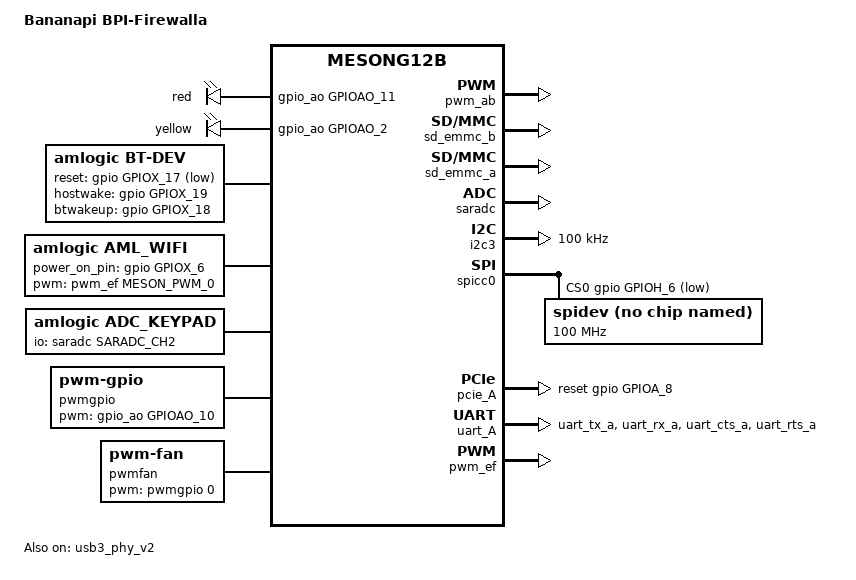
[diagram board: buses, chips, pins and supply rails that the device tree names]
/*
 * arch/arm64/boot/dts/amlogic/meson64_bananapi_firewalla.dts
 *
 * Copyright (C) 2018 Hardkernel Co,. Ltd. All rights reserved.
 *
 * This program is free software; you can redistribute it and/or modify
 * it under the terms of the GNU General Public License as published by
 * the Free Software Foundation; either version 2 of the License, or
 * (at your option) any later version.
 *
 * This program is distributed in the hope that it will be useful, but WITHOUT
 * ANY WARRANTY; without even the implied warranty of MERCHANTABILITY or
 * FITNESS FOR A PARTICULAR PURPOSE.  See the GNU General Public License for
 * more details.
 *
 */

/dts-v1/;

#include <include/dt-bindings/thermal/thermal.h>
#include "mesong12b_a.dtsi"
#include "mesong12_bananapi_common.dtsi"

/ {
	model = "Bananapi BPI-Firewalla";
	compatible = "amlogic, g12b";
	interrupt-parent = <&gic>;
	#address-cells = <2>;
	#size-cells = <2>;

	chosen { };

	reserved-memory {
		#address-cells = <2>;
		#size-cells = <2>;
		ranges;
		/* global autoconfigured region for contiguous allocations */
		secmon_reserved:linux,secmon {
			compatible = "shared-dma-pool";
			reusable;
			size = <0x0 0x400000>;
			alignment = <0x0 0x400000>;
			alloc-ranges = <0x0 0x05000000 0x0 0x400000>;
			clear-map;
		};

		secos_reserved:linux,secos {
			status = "disable";
			compatible = "amlogic, aml_secos_memory";
			reg = <0x0 0x05300000 0x0 0x2000000>;
			no-map;
		};
		logo_reserved:linux,meson-fb {
			compatible = "shared-dma-pool";
			reusable;
			size = <0x0 0x800000>;
			alignment = <0x0 0x400000>;
			alloc-ranges = <0x0 0x7f800000 0x0 0x800000>;
		};
		ion_cma_reserved:linux,ion-dev {
			compatible = "shared-dma-pool";
			reusable;
			size = <0x0 0x8000000>;
			alignment = <0x0 0x400000>;
		};

		//di_reserved:linux,di {
			//compatible = "amlogic, di-mem";
			/* buffer_size = 3621952(yuv422 8bit) */
			/* 4179008(yuv422 10bit full pack mode) */
			/** 10x3621952=34.6M(0x23) support 8bit **/
			/** 10x4736064=45.2M(0x2e) support 12bit **/
			/** 10x4179008=40M(0x28) support 10bit **/
			//size = <0x0 0x2800000>;
			//no-map;
		//};
		/*di CMA pool */
		di_cma_reserved:linux,di_cma {
			compatible = "shared-dma-pool";
			reusable;
			/* buffer_size = 3621952(yuv422 8bit)
			 *  | 4736064(yuv422 10bit)
			 *  | 4074560(yuv422 10bit full pack mode)
			 * 10x3621952=34.6M(0x23) support 8bit
			 * 10x4736064=45.2M(0x2e) support 12bit
			 * 10x4074560=40M(0x28) support 10bit
			 */
			size = <0x0 0x02800000>;
			alignment = <0x0 0x400000>;
		};
		/*  POST PROCESS MANAGER */
		ppmgr_reserved:linux,ppmgr {
			compatible = "shared-dma-pool";
			size = <0x0 0x0>;
		};
		codec_mm_cma:linux,codec_mm_cma {
			compatible = "shared-dma-pool";
			reusable;
			/* ion_codec_mm max can alloc size 80M*/
			size = <0x0 0x13400000>;
			alignment = <0x0 0x400000>;
			linux,contiguous-region;
			clear-map;
		};
		/* codec shared reserved */
		codec_mm_reserved:linux,codec_mm_reserved {
			compatible = "amlogic, codec-mm-reserved";
			size = <0x0 0x0>;
			alignment = <0x0 0x100000>;
			//no-map;
		};
		/*  vdin0 CMA pool */
		vdin0_cma_reserved:linux,vdin0_cma {
			status = "disable";
			compatible = "shared-dma-pool";
			reusable;
			/* 1920x1080x2x4  =16+4 M */
			size = <0x0 0x04000000>;
			alignment = <0x0 0x400000>;
		};
		/*  vdin1 CMA pool */
		vdin1_cma_reserved:linux,vdin1_cma {
			status = "disable";
			compatible = "shared-dma-pool";
			reusable;
			/* 1920x1080x2x4  =16 M */
			size = <0x0 0x04000000>;
			alignment = <0x0 0x400000>;
		};
	};

	leds {
		/delete-node/ blueled;
		/delete-node/ greenled;

		red {
			label = "red";
			gpios = <&gpio_ao GPIOAO_11 GPIO_ACTIVE_HIGH>;
			linux,default-trigger = "timer";
		};

		yellow {
			label = "yellow";
			gpios = <&gpio_ao GPIOAO_2 GPIO_ACTIVE_HIGH>;
			linux,default-trigger = "none";
		};
	};

	bt-dev {
		compatible = "amlogic, bt-dev";
		dev_name = "bt-dev";
		status = "okay";
		gpio_reset = <&gpio             GPIOX_17        GPIO_ACTIVE_LOW>;
		gpio_hostwake = <&gpio  GPIOX_19        GPIO_ACTIVE_HIGH>;
		gpio_btwakeup = <&gpio  GPIOX_18        GPIO_ACTIVE_HIGH>;
	};

	wifi {
		compatible = "amlogic, aml_wifi";
		dev_name = "aml_wifi";
		status = "okay";
		interrupt_pin = <&gpio  GPIOX_7         GPIO_ACTIVE_LOW>;
		irq_trigger_type = "GPIO_IRQ_HIGH";
		power_on_pin = <&gpio   GPIOX_6         GPIO_ACTIVE_HIGH>;
		pinctrl-names = "default";
		pinctrl-0 = <&pwm_e_pins>;
		pwms = <&pwm_ef MESON_PWM_0 30541 0>;
		duty_cycle = <15270>;
	};

	adc_keypad {
                compatible = "amlogic, adc_keypad";
                status = "okay";
                key_name = "power";
                key_num = <1>;
                io-channels = <&saradc SARADC_CH2>;
                io-channel-names = "key-chan-2";
                key_chan = <SARADC_CH2>;
                key_code = <355>;
                key_val = <0>; //val=voltage/1800mV*1023
                key_tolerance = <40>;
        };

	cvbsout {
		compatible = "amlogic, cvbsout-g12b";
		dev_name = "cvbsout";
		status = "disabled";
		clocks = <&clkc CLKID_VCLK2_ENCI
			&clkc CLKID_VCLK2_VENCI0
			&clkc CLKID_VCLK2_VENCI1
			&clkc CLKID_DAC_CLK>;
		clock-names = "venci_top_gate",
			"venci_0_gate",
			"venci_1_gate",
			"vdac_clk_gate";
		/* clk path */
		/* 0:vid_pll vid2_clk */
		/* 1:gp0_pll vid2_clk */
		/* 2:vid_pll vid1_clk */
		/* 3:gp0_pll vid1_clk */
		clk_path = <0>;

		/* performance: reg_address, reg_value */
		/* g12b */
		performance = <0x1bf0  0x9
			0x1b56  0x333
			0x1b12  0x8080
			0x1b05  0xfd
			0x1c59  0xf850
			0xffff  0x0>; /* ending flag */
		performance_sarft = <0x1bf0  0x9
			0x1b56  0x333
			0x1b12  0x0
			0x1b05  0x9
			0x1c59  0xfc48
			0xffff  0x0>; /* ending flag */
		vdac_config = <0xa000>;
	};

	deinterlace {
		compatible = "amlogic, deinterlace";
		status = "okay";
		/* 0:use reserved; 1:use cma; 2:use cma as reserved */
		flag_cma = <1>;
		//memory-region = <&di_reserved>;
		memory-region = <&di_cma_reserved>;
		interrupts = <0 46 1
				0 40 1>;
		interrupt-names = "pre_irq", "post_irq";
		clocks = <&clkc CLKID_VPU_CLKB_TMP_COMP>,
			<&clkc CLKID_VPU_CLKB_COMP>;
		clock-names = "vpu_clkb_tmp_composite",
			"vpu_clkb_composite";
		clock-range = <334 667>;
		/* buffer-size = <3621952>;(yuv422 8bit) */
		buffer-size = <4074560>;/*yuv422 fullpack*/
		/* reserve-iomap = "true"; */
		/* if enable nr10bit, set nr10bit-support to 1 */
		post-wr-support = <1>;
		nr10bit-support = <1>;
		nrds-enable = <1>;
		pps-enable = <1>;
	};

	amlvecm {
		compatible = "amlogic, vecm";
		dev_name = "aml_vecm";
		status = "okay";
		gamma_en = <0>;/*1:enabel ;0:disable*/
		wb_en = <0>;/*1:enabel ;0:disable*/
		cm_en = <0>;/*1:enabel ;0:disable*/
	};


	pwmgpio:pwmgpio {
		compatible = "pwm-gpio";
		#pwm-cells = <3>;
		pwm-gpios = <&gpio_ao GPIOAO_10 GPIO_ACTIVE_HIGH>;
		status = "okay";
	};

	cpu_opp_table0: cpu_opp_table0 {
		compatible = "operating-points-v2";
		opp-shared;

		opp00 {
			opp-hz = /bits/ 64 <100000000>;
			opp-microvolt = <731000>;
		};
		opp01 {
			opp-hz = /bits/ 64 <250000000>;
			opp-microvolt = <731000>;
		};
		opp02 {
			opp-hz = /bits/ 64 <500000000>;
			opp-microvolt = <731000>;
		};
		opp03 {
			opp-hz = /bits/ 64 <667000000>;
			opp-microvolt = <731000>;
		};
		opp04 {
			opp-hz = /bits/ 64 <1000000000>;
			opp-microvolt = <731000>;
		};
		opp05 {
			opp-hz = /bits/ 64 <1200000000>;
			opp-microvolt = <731000>;
		};
		opp06 {
			opp-hz = /bits/ 64 <1398000000>;
			opp-microvolt = <761000>;
		};
		opp07 {
			opp-hz = /bits/ 64 <1512000000>;
			opp-microvolt = <791000>;
		};
		opp08 {
			opp-hz = /bits/ 64 <1608000000>;
			opp-microvolt = <831000>;
		};
		opp09 {
			opp-hz = /bits/ 64 <1704000000>;
			opp-microvolt = <861000>;
		};
		opp10 {
			opp-hz = /bits/ 64 <1896000000>;
			opp-microvolt = <981000>;
		};
		opp11 {
			opp-hz = /bits/ 64 <1992000000>;
			opp-microvolt = <1001000>;
		};
	};

	cpu_opp_table1: cpu_opp_table1 {
		compatible = "operating-points-v2";
		opp-shared;

		opp00 {
			opp-hz = /bits/ 64 <100000000>;
			opp-microvolt = <751000>;
		};
		opp01 {
			opp-hz = /bits/ 64 <250000000>;
			opp-microvolt = <751000>;
		};
		opp02 {
			opp-hz = /bits/ 64 <500000000>;
			opp-microvolt = <751000>;
		};
		opp03 {
			opp-hz = /bits/ 64 <667000000>;
			opp-microvolt = <751000>;
		};
		opp04 {
			opp-hz = /bits/ 64 <1000000000>;
			opp-microvolt = <771000>;
		};
		opp05 {
			opp-hz = /bits/ 64 <1200000000>;
			opp-microvolt = <771000>;
		};
		opp06 {
			opp-hz = /bits/ 64 <1398000000>;
			opp-microvolt = <791000>;
		};
		opp07 {
			opp-hz = /bits/ 64 <1512000000>;
			opp-microvolt = <821000>;
		};
		opp08 {
			opp-hz = /bits/ 64 <1608000000>;
			opp-microvolt = <861000>;
		};
		opp09 {
			opp-hz = /bits/ 64 <1704000000>;
			opp-microvolt = <891000>;
		};
		opp10 {
			opp-hz = /bits/ 64 <1800000000>;
			opp-microvolt = <981000>;
		};
		opp11 {
			opp-hz = /bits/ 64 <1908000000>;
			opp-microvolt = <1022000>;
		};
		opp12 {
			opp-hz = /bits/ 64 <2004000000>;
			opp-microvolt = <1022000>;
		};
	};

	cpufreq-meson {
		compatible = "amlogic, cpufreq-meson";
		status = "okay";
	};

	pwmfan:pwm-fan {
		compatible = "pwm-fan";
		pwms = <&pwmgpio 0 40000 PWM_POLARITY_INVERTED>;
		cooling-min-state = <0>;
		cooling-max-state = <3>;
		#cooling-cells = <2>;
		cooling-levels = <0 120 170 220>;
		status = "okay";
	};
}; /* end of / */

&soc_thermal {
	trips {
		fan_0: trip-point@4 {
			temperature = <45000>;
			hysteresis = <5000>;
			type = "active";
		};
		fan_1: trip-point@5 {
			temperature = <55000>;
			hysteresis = <5000>;
			type = "active";
		};
		fan_2: trip-point@6 {
			temperature = <60000>;
			hysteresis = <5000>;
			type = "active";
		};
	};
	cooling-maps {
		cpucore_cooling_map {
			trip = <&phot>;
		};
		fan_cooling_map0 {
			trip = <&fan_0>;
			cooling-device = <&pwmfan 0 1>;
		};
		fan_cooling_map1 {
			trip = <&fan_1>;
			cooling-device = <&pwmfan 1 2>;
		};
		fan_cooling_map2 {
			trip = <&fan_2>;
			cooling-device = <&pwmfan 2 3>;
		};
	};
};

&meson_fb {
	status = "disabled";
	display_size_default = <1920 1080 1920 2160 32>;
	mem_size = <0x00800000 0x4b80000 0x100000 0x100000 0x800000>;
	logo_addr = "0x7f800000";
	mem_alloc = <1>;
	pxp_mode = <0>; /** 0:normal mode 1:pxp mode */
	4k2k_fb = <1>;
};

&pwm_ab {
	status = "okay";
};

&reboot {
	sd_volsw_gpio = <&gpio_ao GPIOAO_9 GPIO_ACTIVE_HIGH>;
	sd_power_gpio = <&gpio_ao GPIOAO_8 GPIO_ACTIVE_HIGH>;
};

&sd_emmc_b {
	status = "okay";
	sd-uhs-sdr25;
	sd-uhs-sdr50;
	sd-uhs-sdr104;
	max-frequency = <200000000>;
	sd {
		caps = "MMC_CAP_4_BIT_DATA",
			 "MMC_CAP_UHS_SDR25",
			 "MMC_CAP_UHS_SDR50",
			 "MMC_CAP_UHS_SDR104",
			 "MMC_CAP_MMC_HIGHSPEED",
			 "MMC_CAP_SD_HIGHSPEED",
			 "MMC_CAP_ERASE",
			 "MMC_CAP_CMD23";
		vol_switch = <&gpio_ao GPIOAO_9 GPIO_ACTIVE_HIGH>;
		vol_switch_18 = <1>;
		f_min = <400000>;
		f_max = <200000000>;
	};
};

&sd_emmc_a {
	status = "okay";
	sdio {
		caps = "MMC_CAP_4_BIT_DATA",
			 "MMC_CAP_MMC_HIGHSPEED",
			 "MMC_CAP_SD_HIGHSPEED",
			 "MMC_CAP_NONREMOVABLE",
			 "MMC_CAP_UHS_SDR12",
			 "MMC_CAP_UHS_SDR25",
			 "MMC_CAP_UHS_SDR50",
			 "MMC_CAP_UHS_SDR104",
			 "MMC_PM_KEEP_POWER",
			 "MMC_CAP_SDIO_IRQ";
		f_min = <400000>;
		f_max = <200000000>;
	};
};

&pinctrl_periphs {
	a_uart_cts_rts_pins: a_uart_cts_rts {
                mux {
                        groups = "uart_tx_a",
                                "uart_rx_a",
                                "uart_cts_a",
                                "uart_rts_a";
                        function = "uart_a";
                };
        };
}; /* end of pinctrl_periphs */

&pinctrl_aobus {

}; /* end of pinctrl_aobus */


&saradc {
	status = "okay";
};

&i2c2 {
	status = "disabled";
};

&i2c3 {
	status = "okay";
	pinctrl-names = "default";
	pinctrl-0 = <&i2c3_master_pins2>;
	clock-frequency = <100000>;             /* default 100k */
};

&spicc0 {
	status = "okay";
	pinctrl-names = "default";
	pinctrl-0 = <&spicc1_pins>;
	num_chipselect = <1>;
	cs-gpios = <&gpio GPIOH_6 GPIO_ACTIVE_LOW>;

	spidev: spidev@0 {
		status = "okay";
		compatible = "linux,spidev";
		reg = <0>;
		/* spi default max clock 100Mhz */
		spi-max-frequency = <100000000>;
	};
};

&usb3_phy_v2 {
	status = "okay";
	portnum = <0>;
	otg = <1>;
};

&pcie_A {
	reset-gpio = <&gpio GPIOA_8 GPIO_ACTIVE_HIGH>;
	status = "okay";
};

&gpioreset {
	status = "disabled";
};

&uart_A {
	status = "okay";
	pinctrl-names = "default";
	pinctrl-0 = <&a_uart_cts_rts_pins>;
};

&pwm_ef {
	status = "okay";
};

&remote {
	status = "disabled";
};
